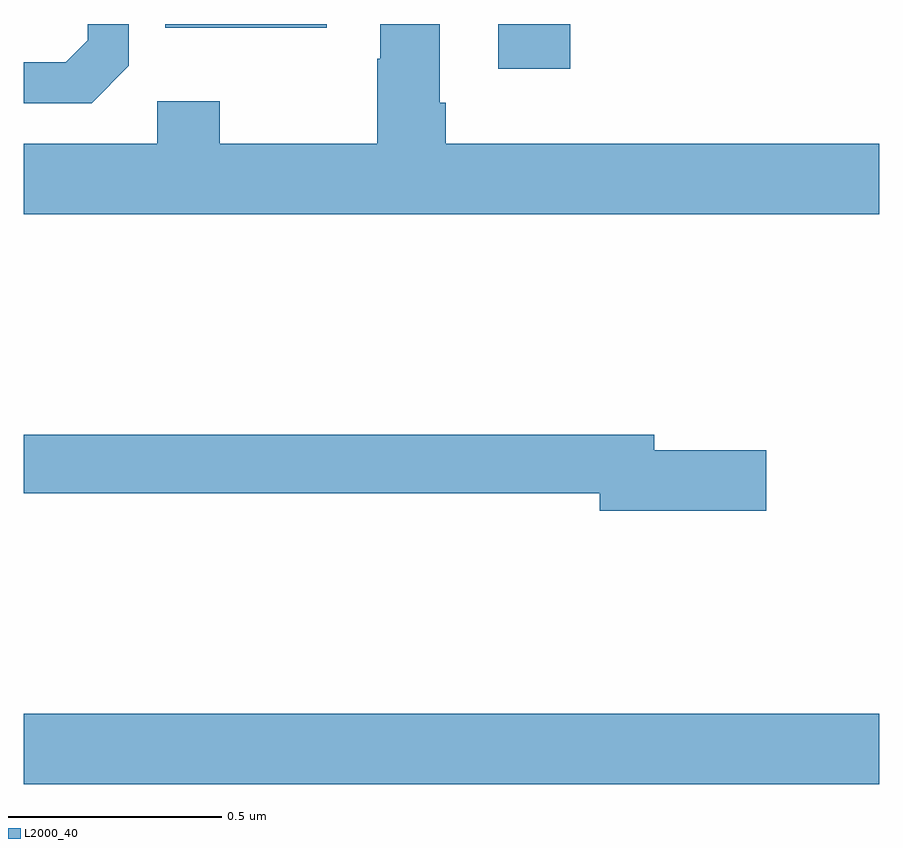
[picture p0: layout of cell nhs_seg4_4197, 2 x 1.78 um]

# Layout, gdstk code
import gdstk
lib = gdstk.Library(unit=1e-6, precision=1e-09)
def R(c, l, rs):  # rectangles x0, y0, x1, y1
    for r in rs: c.add(gdstk.rectangle(r[:2], r[2:], *l))
def P(c, l, *ps):  # polygons
    for p in ps: c.add(gdstk.Polygon(p, *l))
L2000_40 = (2000, 40)

nhs_seg4_4197 = lib.new_cell('nhs_seg4_4197')
R(nhs_seg4_4197, L2000_40, [(162,826.124,164,826.288), (163.109,827.796,163.277,827.9), (162.331,827.891,162.709,827.9)])
P(nhs_seg4_4197, L2000_40, [(164,827.62),(162.986,827.62),(162.986,827.716),(162.973,827.716),(162.973,827.9),(162.833,827.9),(162.833,827.819),(162.826,827.819),(162.826,827.62),(162.459,827.62),(162.459,827.719),(162.312,827.719),(162.312,827.62),(162,827.62),(162,827.456),(164,827.456)],
  [(162.246,827.802),(162.246,827.9),(162.15,827.9),(162.15,827.862),(162.099,827.811),(162,827.811),(162,827.715),(162.159,827.715)],
  [(163.735,826.904),(163.474,826.904),(163.474,826.94),(162,826.94),(162,826.804),(163.346,826.804),(163.346,826.762),(163.735,826.762)])

lib.write_gds('nhs_seg4_4197.gds')
